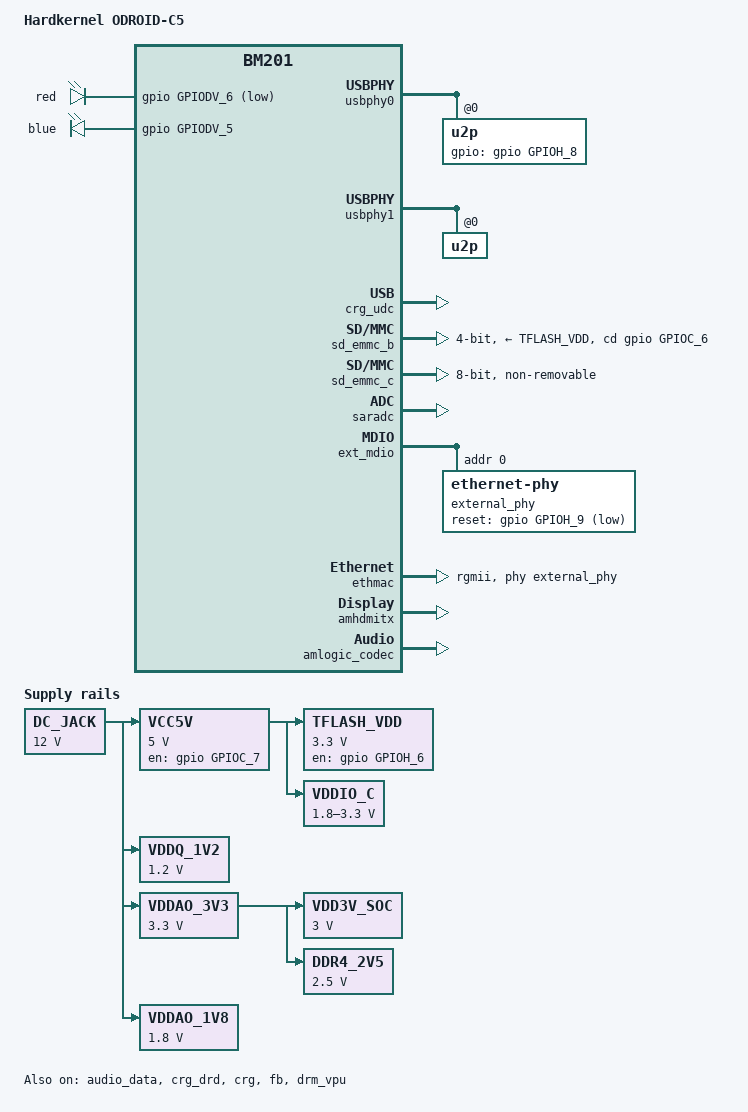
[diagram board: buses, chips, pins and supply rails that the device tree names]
// SPDX-License-Identifier: (GPL-2.0+ OR MIT)
/*
 * Copyright (c) 2019 Amlogic, Inc. All rights reserved.
 */

/dts-v1/;

#include "meson-s7d.dtsi"
#include "hdr10plus.dtsi"
#include "mesons7d_drm.dtsi"
#include "mesons7d_audio.dtsi"
#include "hardkernel_ir_map.dtsi"

/delete-node/ &int_mdio;
/delete-node/ &pcie;

/ {
	model = "Hardkernel ODROID-C5";
	compatible = "s7d_s905x5m_bm201";

	amlogic-dt-id = "s7d_s905x5m_bm201";

	interrupt-parent = <&gic>;
	#address-cells = <2>;
	#size-cells = <2>;

	aliases {
		serial0 = &uart_B;
		serial1 = &uart_A;
		serial2 = &uart_C;
		serial3 = &uart_D;
		serial4 = &uart_E;
		i2c0 = &i2c1;
		i2c1 = &i2c4;
		i2c2 = &i2c3;
		i2c3 = &i2c2;
		i2c4 = &i2c0;
		spi0 = &spicc0;
		tsensor0 = &p_tsensor;
	};

	memory@0 {
		device_type = "memory";
		linux,usable-memory = <0x0 0x0 0x0 0xf0000000>;
	};

	reserved-memory {
		#address-cells = <2>;
		#size-cells = <2>;
		ranges;

		ramdump_bl33z@0 {
			reg = <0x0 0x0 0x0 0x1800000>; /* 0 ~ 24M */
			status = "disabled";
		};

		/* global autoconfigured region for contiguous allocations */
		ramoops@7400000 {
			compatible = "ramoops";
			reg = <0x0 0x07400000 0x0 0x00080000>;/* addr set in uboot */
			record-size = <0x30000>;
			console-size = <0x40000>;
			ftrace-size = <0x0>;
			pmsg-size = <0x10000>;
		};

		dmc_reserved:linux,dmc_monitor {
			compatible = "amlogic,dmc_monitor-reserved";
			reg = <0x0 0x0 0x0 0x80000>;
		};

		log_reserved:linux,log {
			compatible = "amlogic,log-reserved";
			reg = <0x0 0x4e00000 0x0 0x10000>;
		};

		bl30log_reserved:linux,bl30log {
			compatible = "amlogic,bl30log-reserved";
			reg = <0x0 0xf702cc00 0x0 0x400>;
		};

		debug_reserved:linux,iotrace {
			compatible = "amlogic, iotrace";
			reg = <0x0 0x04f00000 0x0 0x00100000>;
			io-size = <0x1b000>;
			sched-size = <0x2000>;
			irq-size = <0x1000>;
			smc-size = <0x1000>;
			misc-size = <0x1000>;
		};

		secmon_reserved:linux,secmon {
			compatible = "shared-dma-pool";
			/*reusable;*/
			no-map;
			alignment = <0x0 0x100000>;
			reg = <0x0 0x05000000 0x0 0x2400000>;
		};

		logo_reserved:linux,meson-fb {
			compatible = "amlogic, meson-fb";
			alignment = <0x0 0x400000>;
			reg = <0x0 0x7f800000 0x0 0x800000>;
		};

		ion_cma_reserved:linux,ion-dev {
			compatible = "shared-dma-pool";
			reusable;
			size = <0x0 0x0>;
			alignment = <0x0 0x400000>;
		};
		ion_fb_reserved:linux,ion-fb {
			compatible = "shared-dma-pool";
			reusable;
			size = <0x0 0x0>;
			alignment = <0x0 0x400000>;
		};
		dmaheap_cma_reserved:heap-gfx {
			compatible = "shared-dma-pool";
			reusable;
			/* maximum size of fbdev and wayland-drm backend
			 * fbdev: 2 * (number of /dev/fbx device) buffers
			 * wayland-drm: 4 buffers for westeros or 2 buffers for weston,
			 *   3 buffers for direct display(enabled on weston)
			 */
			size = <0x0 0x3000000>;
			alignment = <0x0 0x400000>;
		};
		dmaheap_fb_reserved:heap-fb {
			compatible = "shared-dma-pool";
			reusable;
			size = <0x0 0x0>;
			alignment = <0x0 0x400000>;
		};
		dmaheap_secure_reserved:heap-secure {
			compatible = "amlogic, heap-secure-mem";
			no-map;
			/* advice heap-secure size 208M */
			size = <0x0 0x0>;
			alignment = <0x0 0x400000>;
		};
		mali_protected:mali_protected@c0000000 {
			compatible = "mali-reserved";
			no-map;
			/* 16M with high version than valhall-r41p0,
			 * 64M with low version than valhall-r41p0
			 */
			size = <0x0 0x0>;
			alignment = <0x0 0x400000>;
			//reg = <0x0 0x20000000 0x0 0x1000000>;
		};
		/*di CMA pool */
		di_cma_reserved:linux,di_cma {
			compatible = "shared-dma-pool";
			reusable;
			/* buffer_size = 3621952(yuv422 8bit)
			 *  | 4736064(yuv422 10bit)
			 *  | 4074560(yuv422 10bit full pack mode)
			 * 10x3621952=34.6M(0x23) support 8bit
			 * 10x4736064=45.2M(0x2e) support 12bit
			 * 10x4074560=40M(0x28) support 10bit
			 */
			//size = <0x0 0x0B000000>;
			//size = <0x0 0x0>;
			alignment = <0x0 0x400000>;
		};

		/*  POST PROCESS MANAGER */
		ppmgr_reserved:linux,ppmgr {
			compatible = "shared-dma-pool";
			size = <0x0 0x0>;
		};

		codec_mm_cma:linux,codec_mm_cma {
			compatible = "shared-dma-pool";
			reusable;
			/* ion_codec_mm max can alloc size 80M*/
			size = <0x0 0x16C00000>;
			alignment = <0x0 0x400000>;
			linux,contiguous-region;
		};

		/* codec shared reserved */
		codec_mm_reserved:linux,codec_mm_reserved {
			compatible = "amlogic, codec-mm-reserved";
			size = <0x0 0x0>;
			alignment = <0x0 0x100000>;
			//no-map;
		};

		secure_vdec_reserved:linux,secure_vdec_reserved {
			compatible = "amlogic, secure-vdec-reserved";
			no-map;
			size = <0x0 0x1000000>;
			alignment = <0x0 0x100000>;
		};
		/*  vdin0 CMA pool */
		//vdin0_cma_reserved:linux,vdin0_cma {
		//	compatible = "shared-dma-pool";
		//	reusable;
		/* up to 1920x1080 yuv422 8bit and 5 buffers
		 * 1920x1080x2x5 = 20 M
		 */
		//	size = <0x0 0x01400000>;
		//	alignment = <0x0 0x400000>;
		//};
		/*  vdin1 CMA pool */
		vdin1_cma_reserved:linux,vdin1_cma {
			compatible = "shared-dma-pool";
			reusable;
			/* up to 1920x1080 yuv420 8bit and 4 buffers
			 * 1920x1080x1.5x4 = 12 M
			 */
			size = <0x0 0x00c00000>;
			alignment = <0x0 0x400000>;
		};
		/* global autoconfigured region for contiguous allocations */
		linux,cma {
			compatible = "shared-dma-pool";
			reusable;
			size = <0x0 0x800000>;
			alignment = <0x0 0x400000>;
			linux,cma-default;
		};
	};

	gpio_leds {
		compatible = "gpio-leds";
		status = "okay";
		red {
			label = "red";
			gpios = <&gpio GPIODV_6 GPIO_ACTIVE_LOW>;
			default-state = "on";
		};

		blue {
			label = "blue";
			gpios = <&gpio GPIODV_5 GPIO_ACTIVE_HIGH>;
			linux,default-trigger = "heartbeat";
		};
	};

	ionvideo {
		compatible = "amlogic, ionvideo";
		dev_name = "ionvideo";
		status = "okay";
	};

	amlvideo2_0 {
		compatible = "amlogic, amlvideo2";
		dev_name = "amlvideo2";
		status = "okay";
		amlvideo2_id = <0>;
		cma_mode = <1>;
	};

	amlvideo2_1 {
		compatible = "amlogic, amlvideo2";
		dev_name = "amlvideo2";
		status = "okay";
		amlvideo2_id = <1>;
		cma_mode = <1>;
	};

	ppmgr {
		compatible = "amlogic, ppmgr";
		memory-region = <&ppmgr_reserved>;
		dev_name = "ppmgr";
		status = "disabled";
	};

	amlvecm {
		compatible = "amlogic, vecm-s7d";
		dev_name = "aml_vecm";
		status = "okay";
		gamma_en = <0>;/*1:enable ;0:disable*/
		wb_en = <0>;/*1:enable ;0:disable*/
		/*0: 709/601  1: bt2020*/
		tx_op_color_primary = <0>;
	};

	multi-di {
		compatible = "amlogic, dim-s7d";
		status = "okay";
		/* 0:use reserved; 1:use cma; 2:use cma as reserved */
		flag_cma = <4>;	//<1>;
		//memory-region = <&di_reserved>;
		//memory-region = <&di_cma_reserved>;
		interrupts = <0 203 1
				0 202 1>;
		interrupt-names = "pre_irq", "post_irq";
		clocks = <&clkc CLKID_VPU_CLKB>,
			<&clkc CLKID_VPU>;
		clock-names = "vpu_clkb",
			"vpu_mux";
		clock-range = <334 667>;
		/* buffer-size = <3621952>;(yuv422 8bit) */
		buffer-size = <4074560>;/*yuv422 fullpack*/
		/* reserve-iomap = "true"; */
		/* if enable nr10bit, set nr10bit-support to 1 */
		post-wr-support = <1>;
		nr10bit-support = <1>;
		nrds-enable = <1>;
		post_nub = <10>;
	};

	provisionkey {
		compatible = "amlogic, provisionkey";
		status = "disabled";
		key-permit-default = "write";
		//new key not need add dts if started with KEY_PROVISION_
		KEY_PROVISION_XXX { };
		//test_my_added_keyname { };
	};//End provisionkey

	unifykey{
		compatible = "amlogic,unifykey";
		status = "okay";
		unifykey-num = <19>;
		unifykey-index-0 = <&keysn_0>;
		unifykey-index-1 = <&keysn_1>;
		unifykey-index-2 = <&keysn_2>;
		unifykey-index-3 = <&keysn_3>;
		unifykey-index-4 = <&keysn_4>;
		unifykey-index-5 = <&keysn_5>;
		unifykey-index-6 = <&keysn_6>;
		unifykey-index-7 = <&keysn_7>;
		unifykey-index-8 = <&keysn_8>;
		unifykey-index-9 = <&keysn_9>;
		unifykey-index-10= <&keysn_10>;
		unifykey-index-11= <&keysn_11>;
		unifykey-index-12= <&keysn_12>;
		unifykey-index-13= <&keysn_13>;
		unifykey-index-14= <&keysn_14>;
		unifykey-index-15= <&keysn_15>;
		unifykey-index-16= <&keysn_16>;
		unifykey-index-17= <&keysn_17>;
		unifykey-index-18= <&keysn_18>;

		keysn_0: key_0{
			key-name = "usid";
			key-device = "normal";
			key-permit = "read","write","del";
		};
		keysn_1:key_1{
			key-name = "mac";
			key-device = "normal";
			key-permit = "read","write","del";
		};
		keysn_2:key_2{
			key-name = "hdcp";
			key-device = "secure";
			key-type = "sha1";
			key-permit = "read","write","del";
		};
		keysn_3:key_3{
			key-name = "secure_boot_set";
			key-device = "efuse";
			key-permit = "write";
		};
		keysn_4:key_4{
			key-name = "mac_bt";
			key-device = "normal";
			key-permit = "read","write","del";
			key-type  = "mac";
		};
		keysn_5:key_5{
			key-name = "mac_wifi";
			key-device = "normal";
			key-permit = "read","write","del";
			key-type = "mac";
		};
		keysn_6:key_6{
			key-name = "hdcp2_tx";
			key-device = "normal";
			key-permit = "read","write","del";
		};
		keysn_7:key_7{
			key-name = "hdcp2_rx";
			key-device = "normal";
			key-permit = "read","write","del";
		};
		keysn_8:key_8{
			key-name = "widevinekeybox";
			key-device = "secure";
			key-permit = "read","write","del";
		};
		keysn_9:key_9{
			key-name = "deviceid";
			key-device = "normal";
			key-permit = "read","write","del";
		};
		keysn_10:key_10{
			key-name = "hdcp22_fw_private";
			key-device = "secure";
			key-permit = "read","write","del";
		};
		keysn_11:key_11{
			key-name = "PlayReadykeybox25";
			key-device = "secure";
			key-permit = "read","write","del";
		};
		keysn_12:key_12{
			key-name = "prpubkeybox";//PlayReady
			key-device = "secure";
			key-permit = "read","write","del";
		};
		keysn_13:key_13{
			key-name = "prprivkeybox";//PlayReady
			key-device = "secure";
			key-permit = "read","write","del";
		};
		keysn_14:key_14{
			key-name = "attestationkeybox";//attestation key
			key-device = "secure";
			key-permit = "read","write","del";
		};
		keysn_15:key_15{
			key-name = "region_code";
			key-device = "normal";
			key-permit = "read","write","del";
		};
		keysn_16:key_16{
			key-name = "netflix_mgkid";
			key-device = "secure";
			key-permit = "read","write","del";
		};
		keysn_17:key_17{
			key-name = "attestationdevidbox";//attest dev id box
			key-device = "secure";
			key-permit = "read","write","del";
		};
		keysn_18:key_18{
			key-name = "oemkey";
			key-device = "normal";
			key-permit = "read","write","del";
		};
	};//End unifykey

	/delete-node/ efusekey;
	efuse: efuse{
		/delete-property/ check;
		key = <&efuse_odroid_keys>;
		status = "okay";
	};

	efuse_odroid_keys:efuse_odroid_keys{
		keynum = <1>;
		key0 = <&key_0>;

		key_0:key_0{
			keyname = "uuid";
			offset = <0>;
			size = <32>;
		};
	};

	/* Audio Related start */
	auge_sound {
		compatible = "amlogic, auge-sound-card";
		aml-audio-card,name = "AML-AUGESOUND";

		aml-audio-card,dai-link@0 {
			format = "i2s";
			mclk-fs = <256>;
			continuous-clock;
			/* master mode */
			bitclock-master = <&tdmb>;
			frame-master = <&tdmb>;
			/* suffix-name, sync with android audio hal used for*/
			suffix-name = "alsaPORT-i2s2hdmi";
			cpu {
				sound-dai = <&tdmb>;
				dai-tdm-slot-tx-mask = <1 1>;
				dai-tdm-slot-rx-mask = <1 1>;
				dai-tdm-slot-num = <2>;
				dai-tdm-slot-width = <32>;
				system-clock-frequency = <12288000>;
			};
			tdmbcodec: codec {
				sound-dai = <&dummy_codec>;
			};
		};

		/* spdif_b to hdmi, only playback */
		aml-audio-card,dai-link@1 {
			mclk-fs = <128>;
			continuous-clock;
			/* suffix-name, sync with android audio hal
			 * what's the dai link used for
			 */
			suffix-name = "alsaPORT-spdifb";
			cpu {
				sound-dai = <&spdifb>;
				system-clock-frequency = <6144000>;
			};
			codec {
				sound-dai = <&dummy_codec>;
			};
		};
		aml-audio-card,dai-link@2 {
			format = "i2s";
			mclk-fs = <256>;
			continuous-clock;
			/* master mode */
			bitclock-master = <&tdmc>;
			frame-master = <&tdmc>;
			/* suffix-name, sync with android audio hal used for */
			suffix-name = "alsaPORT-i2s";
			cpu {
				sound-dai = <&tdmc>;
				dai-tdm-slot-tx-mask = <1 1>;
				dai-tdm-slot-rx-mask = <1 1>;
				dai-tdm-slot-num = <2>;
				dai-tdm-slot-width = <32>;
				system-clock-frequency = <12288000>;
			};
			tdmccodec: codec {
				prefix-names = "AMP";
				sound-dai = <&amlogic_codec>;
			};
		};
		aml-audio-card,dai-link@3 {
			mclk-fs = <128>;
			continuous-clock;
			/* suffix-name, sync with android audio hal used for */
			suffix-name = "alsaPORT-spdif";
			cpu {
				sound-dai = <&spdifa>;
				system-clock-frequency = <6144000>;
			};
			codec {
				sound-dai = <&dummy_codec>;
			};
		};
	};

	picdec {
		compatible = "amlogic, picdec";
		status = "disabled";
	};

	audiolocker: locker {
		compatible = "amlogic, audiolocker";
		clock-names = "lock_out", "lock_in", "out_src",
					"in_src", "out_calc", "in_ref";
		interrupts = <GIC_SPI 1 IRQ_TYPE_EDGE_RISING>;
		interrupt-names = "irq";
		frequency = <49000000>; /* pll */
		dividor = <49>; /* locker's parent */
		status = "disabled";
	};/* Audio Related end */

	DC_JACK: fixed@dc_jack_12v {
		compatible = "regulator-fixed";
		regulator-name = "DC_JACK12V";
		regulator-min-microvolt = <12000000>;
		regulator-max-microvolt = <12000000>;
		regulator-boot-on;
		regulator-always-on;
	};

	VCC5V: fixed@vcc5v_reg {
		vin-supply = <&DC_JACK>;
		compatible = "regulator-fixed";
		regulator-name = "VCC5V";
		regulator-min-microvolt = <5000000>;
		regulator-max-microvolt = <5000000>;
		pinctrl-names = "default";
		gpio = <&gpio GPIOC_7 (GPIO_ACTIVE_HIGH | GPIO_OPEN_DRAIN)>;
		startup-delay-us = <7000>;
		enable-active-high;
		regulator-boot-on;
		regulator-always-on;
	};

	VDDQ_1V2: fixed@vddq_1v2 {
		compatible = "regulator-fixed";
		vin-supply = <&DC_JACK>;
		regulator-name = "VDDQ_1V2";
		regulator-min-microvolt = <1200000>;
		regulator-max-microvolt = <1200000>;
		regulator-boot-on;
		regulator-always-on;
	};

	VDDAO_3V3: fixed@vddao_3v3_reg {
		vin-supply = <&DC_JACK>;
		compatible = "regulator-fixed";
		regulator-name = "VDDAO_3V3";
		regulator-min-microvolt = <3300000>;
		regulator-max-microvolt = <3300000>;
		regulator-boot-on;
		regulator-always-on;
	};

	VDD3V_SOC: fixed@vdd3v_soc {
		vin-supply = <&VDDAO_3V3>;
		compatible = "regulator-fixed";
		regulator-name = "VDD3V_SOC";
		regulator-min-microvolt = <3000000>;
		regulator-max-microvolt = <3000000>;
		regulator-boot-on;
		regulator-always-on;
	};

	VDDAO_1V8: fixed@vdd1v8_dcdc_reg {
		compatible = "regulator-fixed";
		vin-supply = <&DC_JACK>;
		regulator-name = "VDDAO_1V8";
		regulator-min-microvolt = <1800000>;
		regulator-max-microvolt = <1800000>;
		regulator-boot-on;
		regulator-always-on;
	};

	DDR4_2V5: fixed@ddr4_2v5 {
		vin-supply = <&VDDAO_3V3>;
		compatible = "regulator-fixed";
		regulator-name = "DDR4_2V5";
		regulator-min-microvolt = <2500000>;
		regulator-max-microvolt = <2500000>;
		regulator-boot-on;
		regulator-always-on;
	};

	TFLASH_VDD: fixed@sdcard-3v3 {
		compatible = "regulator-fixed";
		regulator-name = "TFLASH_VDD";
		vin-supply = <&VCC5V>;
		regulator-min-microvolt = <3300000>;
		regulator-max-microvolt = <3300000>;
		// GPIOH_6(Up) Output H= Enable SD_3V3
		gpio = <&gpio GPIOH_6 GPIO_ACTIVE_HIGH>;
		enable-active-high; //3.3V , high: 0V
		regulator-boot-on;
		regulator-always-on;
	};

	VDDIO_C: gpio@sdcard-1v8_3v3 {
		compatible = "regulator-gpio";
		regulator-name = "VDDIO_C";
		vin-supply = <&VCC5V>;
		regulator-min-microvolt = <1800000>;
		regulator-max-microvolt = <3300000>;
		// GPIODV_4(DOWN) H: 1.8V, L: 3.3V
		gpio = <&gpio GPIODV_4 GPIO_ACTIVE_HIGH>;
		gpios-states = <0>;

		/* Based on P200 schematics, signal CARD_1.8V/3.3V_CTR */
		states = <1800000 1
			  3300000 0>;
	};
};

&vddcpu0 {
	status = "okay";
};

&CPU0 {
	operating-points-v2 = <&cpu_opp_table0>,
				<&cpu_opp_table1>,
				<&cpu_opp_table2>,
				<&cpu_opp_table3>;
};

&audio_data {
	status = "okay";
};

&usbphy0 {
	status = "okay";
	u2p@0 {
		controller-type = <3>;
		gpio-vbus-power = "GPIOH_8";
		gpios = <&gpio GPIOH_8 GPIO_ACTIVE_HIGH>;
	};
};

&usbphy1 {
	status = "okay";
	u2p@0 {
		controller-type = <1>;
	};
};

&crg_drd {
	status = "okay";
};

&crg_udc {
	status = "okay";
};

&crg {
	status = "okay";
};

/* SDIO */
&sd_emmc_a {
	status = "disabled";
	pinctrl-0 = <&sdio_pins>;
	pinctrl-1 = <&sdio_clk_gate_pins>;
	pinctrl-names = "default", "clk-gate";
	#address-cells = <1>;
	#size-cells = <0>;

	bus-width = <4>;
	cap-sd-highspeed;
	sd-uhs-sdr50;
	sd-uhs-sdr104;
	max-frequency = <200000000>;

	non-removable;
	disable-wp;
};

/* SD card */
&sd_emmc_b {
	status = "okay";
	pinctrl-0 = <&sdcard_pins>;
	pinctrl-1 = <&sdcard_clk_gate_pins>;
	pinctrl-2 = <&sd_1bit_pins>;
	pinctrl-names = "sd_default",
			"clk-gate",
			"sd_1bit_pins";
	bus-width = <4>;
	cap-sd-highspeed;
	sd-uhs-sdr12;
	sd-uhs-sdr25;
	sd-uhs-sdr50;
	sd-uhs-sdr104;
	max-frequency = <200000000>;
	disable-wp;

	cd-gpios = <&gpio GPIOC_6 GPIO_ACTIVE_HIGH>;
	vmmc-supply = <&TFLASH_VDD>;
	vqmmc-supply = <&VDDIO_C>;
};

&sd_emmc_c {
	status = "okay";
	pinctrl-0 = <&emmc_pins>, <&emmc_ds_pins>;
	pinctrl-1 = <&emmc_clk_gate_pins>;
	pinctrl-names = "default", "clk-gate";

	bus-width = <8>;
	cap-mmc-highspeed;
	mmc-ddr-1_8v;
	mmc-hs200-1_8v;
	mmc-hs400-1_8v;
	max-frequency = <200000000>;
	non-removable;
	disable-wp;

//	mmc-pwrseq = <&emmc_pwrseq>;
//	vmmc-supply = <&VDDAO_3V3>;
//	vqmmc-supply = <&VDDAO_1V8>;
};

&saradc {
	status = "okay";
};

&ext_mdio {
	external_phy: ethernet-phy@0 {
		reg = <0>;
		max-speed = <1000>;
		reset-assert-us = <10000>;
		reset-deassert-us = <80000>;
		reset-gpios = <&gpio GPIOH_9 (GPIO_ACTIVE_LOW | GPIO_OPEN_DRAIN)>;
	};
};

&ethmac {
	status = "okay";
	pinctrl-0 = <&eth_pins>, <&eth_rgmii_pins>;
	pinctrl-names = "default";
	phy-mode = "rgmii";
	phy-handle = <&external_phy>;
	amlogic,tx-delay-ns = <2>;
	internal_phy = <2>;
	analog_version = <1>;
};

&ir {
	status = "disabled";
	pinctrl-0 = <&remote_pins>;
	pinctrl-names = "default";
	map = <&hk_ir_maps>;
	wakeup_map = <&hk_ir_wakeup_key>;
};

&gpio {
	gpio-line-names =
			"", "", 		// GPIOE 0 ~ GPIOE 1

			"", "", "", "", // GPIOB 0 ~ GPIOB 3
			"", "", "", "", // GPIOB 4 ~ GPIOB 7
			"", "", "", "", // GPIOB 8 ~ GPIOB 11
			"", "",         // GPIOB 11 ~ GPIOB 13

			"", "", "", "", // GPIOC 0 ~ GPIOC 3
			"", "", "", "", // GPIOC 4 ~ GPIOC 7

			"", "", "PIN_28", "PIN_27", // GPIOD 0 ~ GPIOD 3
			"PIN_7",				// GPIOD 4

			"", "PIN_16", "PIN_18", "", // GPIODV 0 ~ GPIODV 3
			"", "BLUE_LED", "RED_LED",     // GPIODV 4 ~ GPIODV 6

			"", "", "", "", // GPIOH 0 ~ GPIOH 3
			"PIN_29", "PIN_31", "", "", // GPIOH 4 ~ GPIOH 7
			"", "", "", "", // GPIOH 8 ~ GPIOH 11

			"PIN_33", "PIN_35", "PIN_32", "PIN_36", // GPIOX 0 ~ GPIOX 3
			"PIN_15", "PIN_11", "PIN_12", "PIN_26", // GPIOX 4 ~ GPIOX 7
			"PIN_19", "PIN_21", "PIN_24", "PIN_23", // GPIOX 8 ~ GPIOX 11
			"PIN_8", "PIN_10", "PIN_22", "PIN_13", // GPIOX 12 ~ GPIOX 15
			"", "PIN_3", "PIN_5", "", // GPIOX 16 ~ GPIOX 19

			"", "", "", "", // GPIOZ 0 ~ GPIOZ 3
			"", "", "", "", // GPIOZ 4 ~ GPIOZ 7
			"", "", "", "", // GPIOZ 8 ~ GPIOZ 11
			"",				// GPIOZ 12

			"", "", ""; // GPIO_TEST_N, GPIO_CC1, GPIO_CC2
};

&periphs_pinctrl {
	spicc0_pins_x_sw: spicc0_pins_x_sw {
		mux {
			groups = "spi_a_mosi_x8",
			         "spi_a_miso_x9",
			         /*"spi_a_ss0_x10",*/
			         "spi_a_clk_x11";
			function = "spi_a";
		};
	};

	a_uart_pins_not_cts_rts: a_uart_pins_not_cts_rts {
		mux {
			groups = "uart_a_tx",
			         "uart_a_rx";
			function = "uart_a";
			drive-strength-microamp = <3000>;
			bias-pull-up;
		};
	};
};

&i2c1 {
	status = "disabled";
	pinctrl-0 = <&i2c1_pins4>;
	pinctrl-names = "default";
	clock-frequency = <100000>;		/* default 100k */
};

&i2c3 {
	status = "disabled";
	pinctrl-0 = <&i2c3_pins1>;
	pinctrl-names = "default";
	clock-frequency = <100000>;		/* default 100k */
};

&i2c4 {
	status = "disabled";
	pinctrl-0 = <&i2c4_pins2>;
	pinctrl-names = "default";
	clock-frequency = <100000>;		/* default 100k */
};

&spicc0 {
	status = "disabled";
	pinctrl-names = "default";
	pinctrl-0 = <&spicc0_pins_x_sw>;
};

&fb {
	status = "okay";
	display_size_default = <1920 1080 1920 2160 32>;
	mem_size = <0x00800000 0x1980000 0x100000>;
	logo_addr = "0x7f800000";
	mem_alloc = <0>;
	pxp_mode = <0>; /** 0:normal mode 1:pxp mode */
};

&drm_vpu {
	status = "okay";
	logo_addr = "0x7f800000";

};

&amhdmitx {
	status = "okay";
	/* hdcp ctrl 0:sysctrl, 1: drv, 2: linux app */
	hdcp_ctl_lvl = <1>;
};

&drm_amhdmitx {
	status = "disabled";
	hdcp = "disabled";
};

&drm_amcvbsout {
	status = "disabled";
};

&dummy_venc {
	status = "disabled";
};

&pwm_a {
	pinctrl-0 = <&pwm_a_pins2>;
	pinctrl-names = "default";
	status = "disabled";
};

&pwm_b {
	pinctrl-0 = <&pwm_b_pins1>;
	pinctrl-names = "default";
	status = "disabled";
};

&pwm_c {
	pinctrl-0 = <&pwm_c_pins1>;
	pinctrl-names = "default";
	status = "disabled";
};

&pwm_f {
	pinctrl-0 = <&pwm_f_pins1>;
	pinctrl-names = "default";
	status = "disabled";
};

&uart_A {
	pinctrl-0 = <&a_uart_pins_not_cts_rts>;
	pinctrl-names = "default";
	status = "disabled";
};

&uart_C {
	status = "disabled";
};

&uart_D {
	status = "disabled";
};

&drm_subsystem {
	fbdev_sizes = <1920 1080 1920 2160 32>;
	logo_skip = <1>; // use u-boot logo
};

&pdma {
	status = "disabled";
};

&spdifa {
	/delete-property/ pinctrl-names;
	/delete-property/ pinctrl-0;
	/delete-property/ pinctrl-1;
};

&tdma {
	/delete-property/ pinctrl-names;
	/delete-property/ pinctrl-0;
};

&tdmc {
	/delete-property/ pinctrl-names;
	/delete-property/ pinctrl-0;
	dai-tdm-lane-slot-mask-in = <0 1 0 0>;
	dai-tdm-lane-slot-mask-out = <1 0 0 0>;
	i2s2hdmi = <0>;
};

&amlogic_codec {
	status = "okay";
	tocodec_inout = <1>;
	tdmout_index = <2>;
};

&loopbacka {
	status = "disabled";
};

&apb4 {
	watchdog@2100 {
		amlogic,feed_watchdog_mode = <0>;
	};
};
